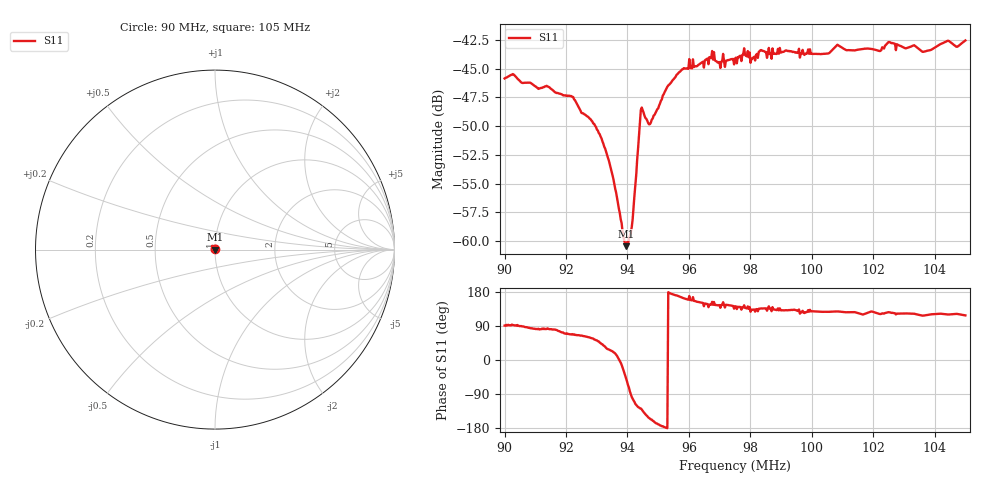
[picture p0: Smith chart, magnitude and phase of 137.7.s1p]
# HZ S RI R 50
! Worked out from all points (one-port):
!   505 points, 90 MHz to 105 MHz, reference 50 ohm
!   lowest |S11| = -60.4 dB at 93.96 MHz (marker M1), VSWR 1.00, Z = 50.1 - j0.0726 ohm
!   |S11| at or under -10 dB: start of sweep to end of sweep
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9e7  -7.1e-05 0.0051
9.026786e7  -0.000193 0.00532
9.187501e7  0.00129 0.00414
9.223215e7  0.00165 0.00389
9.309525e7  0.00202 0.0021
9.345239e7  0.00189 0.00089
9.375001e7  0.00132 -5.2e-05
9.389882e7  0.000829 -0.000559
9.395835e7  0.000615 -0.000725
9.413692e7  -0.000143 -0.00114
9.42262e7  -0.000551 -0.00148
9.440478e7  -0.00198 -0.00257
9.44643e7  -0.00247 -0.0029
9.476192e7  -0.00302 -0.00129
9.526787e7  -0.00461 -8.41e-05
9.562502e7  -0.00523 0.000953
9.675597e7  -0.00601 0.00299
9.696431e7  -0.0049 0.00347
9.750002e7  -0.00488 0.00386
9.836312e7  -0.00488 0.00468
9.937503e7  -0.00444 0.00493
1.008631e8  -0.00438 0.00558
1.0125e8  -0.00399 0.00545
1.022024e8  -0.00351 0.00571
1.025298e8  -0.00429 0.00595
1.03125e8  -0.00374 0.00583
1.036608e8  -0.00308 0.00591
1.05e8  -0.00346 0.0066
